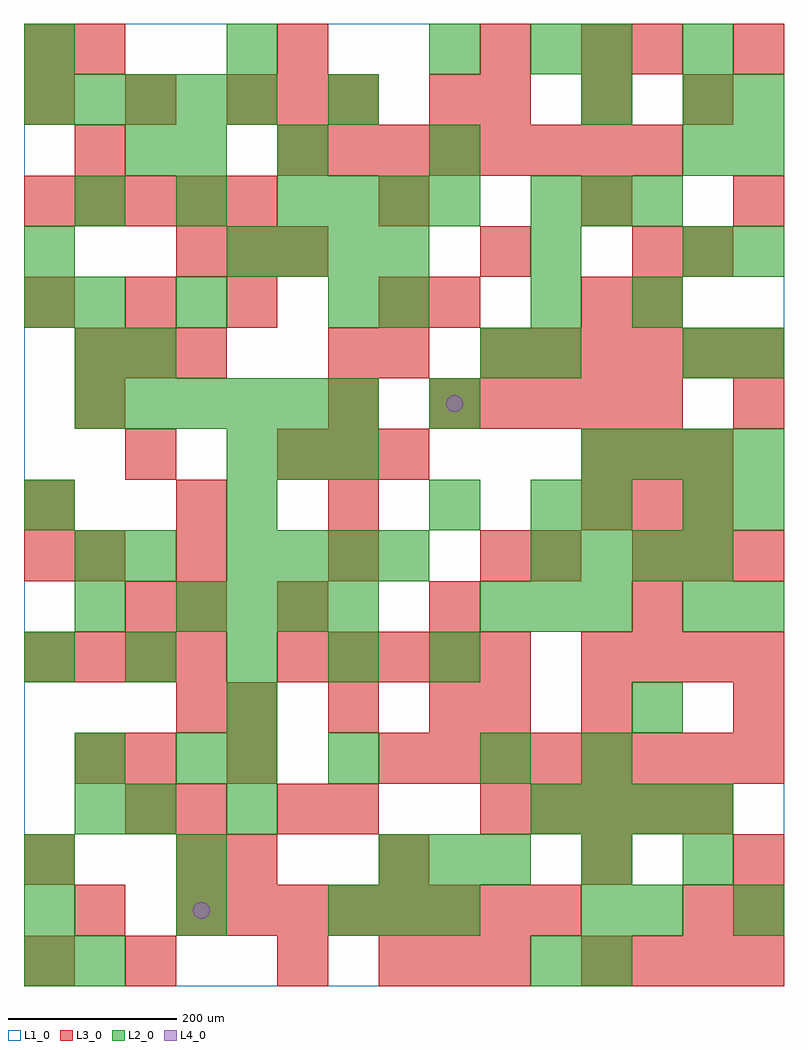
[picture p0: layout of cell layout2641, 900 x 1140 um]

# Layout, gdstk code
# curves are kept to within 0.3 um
import gdstk
lib = gdstk.Library(unit=1e-6, precision=1e-09)
def R(c, l, rs):  # rectangles x0, y0, x1, y1
    for r in rs: c.add(gdstk.rectangle(r[:2], r[2:], *l))
def A(c, l, x, y, w, h, nx, ny, dx, dy):  # array of equal rectangles
    R(c, l, [(x+i*dx, y+j*dy, x+i*dx+w, y+j*dy+h) for i in range(nx) for j in range(ny)])
def P(c, l, *ps):  # polygons
    for p in ps: c.add(gdstk.Polygon(p, *l))
L1_0 = (1, 0)
L2_0 = (2, 0)
L3_0 = (3, 0)
L4_0 = (4, 0)

layout2641 = lib.new_cell('layout2641')
R(layout2641, L1_0, [(0,0,900,1140)])
A(layout2641, L2_0, 660, 0, 60, 60, 1, 3, 0, 60)
A(layout2641, L2_0, 0, 60, 60, 60, 3, 1, 180, 0)
A(layout2641, L2_0, 420, 120, 60, 60, 3, 1, 60, 0)
A(layout2641, L2_0, 240, 180, 60, 60, 1, 3, 0, 60)
A(layout2641, L2_0, 600, 180, 60, 60, 4, 2, 60, 300)
A(layout2641, L2_0, 0, 360, 60, 60, 5, 1, 120, 0)
A(layout2641, L2_0, 180, 420, 60, 60, 4, 1, 60, 0)
A(layout2641, L2_0, 540, 420, 60, 60, 3, 1, 60, 0)
A(layout2641, L2_0, 120, 480, 60, 60, 1, 3, 0, 240)
A(layout2641, L2_0, 240, 480, 60, 60, 4, 2, 60, 360)
A(layout2641, L2_0, 0, 540, 60, 60, 3, 2, 240, 540)
A(layout2641, L2_0, 240, 600, 60, 60, 3, 1, 60, 0)
A(layout2641, L2_0, 660, 600, 60, 60, 4, 1, 60, 0)
A(layout2641, L2_0, 60, 660, 60, 60, 6, 1, 60, 0)
A(layout2641, L2_0, 600, 720, 60, 60, 1, 3, 0, 60)
A(layout2641, L2_0, 780, 720, 60, 60, 1, 3, 0, 120)
A(layout2641, L2_0, 840, 720, 60, 60, 1, 3, 0, 120)
A(layout2641, L2_0, 60, 900, 60, 60, 3, 1, 120, 0)
A(layout2641, L2_0, 360, 900, 60, 60, 3, 1, 60, 0)
A(layout2641, L2_0, 600, 900, 60, 60, 3, 1, 60, 0)
A(layout2641, L2_0, 0, 1020, 60, 60, 5, 1, 60, 0)
R(layout2641, L2_0, [(0,0,60,60), (60,0,120,60), (600,0,660,60), (420,60,480,120), (480,60,540,120), (720,60,780,120), (840,60,900,120), (0,120,60,180), (180,120,240,180), (780,120,840,180), (60,180,120,240), (120,180,180,240), (60,240,120,300), (180,240,240,300), (360,240,420,300), (540,240,600,300), (660,240,720,300), (720,300,780,360), (60,420,120,480), (780,420,840,480), (840,420,900,480), (60,480,120,540), (600,540,660,600), (660,540,720,600), (780,540,840,600), (840,540,900,600), (480,660,540,720), (60,720,120,780), (540,720,600,780), (0,780,60,840), (60,780,120,840), (180,780,240,840), (360,780,420,840), (420,780,480,840), (720,780,780,840), (0,840,60,900), (180,960,240,1020), (300,960,360,1020), (480,960,540,1020), (360,1020,420,1080), (660,1020,720,1080), (780,1020,840,1080), (840,1020,900,1080), (600,1080,660,1140), (660,1080,720,1140), (780,1080,840,1140)])
A(layout2641, L3_0, 420, 0, 60, 60, 3, 1, 60, 0)
A(layout2641, L3_0, 660, 0, 60, 60, 4, 2, 60, 360)
A(layout2641, L3_0, 180, 60, 60, 60, 8, 1, 60, 0)
A(layout2641, L3_0, 180, 180, 60, 60, 1, 3, 0, 120)
A(layout2641, L3_0, 540, 180, 60, 60, 5, 1, 60, 0)
A(layout2641, L3_0, 120, 240, 60, 60, 1, 3, 0, 180)
A(layout2641, L3_0, 420, 240, 60, 60, 8, 1, 60, 0)
A(layout2641, L3_0, 240, 300, 60, 60, 3, 1, 120, 0)
A(layout2641, L3_0, 0, 360, 60, 60, 4, 1, 60, 0)
A(layout2641, L3_0, 300, 360, 60, 60, 5, 1, 60, 0)
A(layout2641, L3_0, 180, 480, 60, 60, 3, 1, 180, 0)
A(layout2641, L3_0, 720, 480, 60, 60, 3, 1, 60, 0)
A(layout2641, L3_0, 0, 540, 60, 60, 3, 1, 180, 0)
A(layout2641, L3_0, 660, 540, 60, 60, 3, 2, 60, 60)
A(layout2641, L3_0, 300, 600, 60, 60, 3, 1, 60, 0)
A(layout2641, L3_0, 480, 660, 60, 60, 5, 1, 60, 0)
A(layout2641, L3_0, 60, 720, 60, 60, 3, 1, 60, 0)
A(layout2641, L3_0, 540, 720, 60, 60, 6, 1, 60, 0)
A(layout2641, L3_0, 0, 780, 60, 60, 3, 2, 120, 240)
A(layout2641, L3_0, 180, 840, 60, 60, 3, 1, 60, 0)
A(layout2641, L3_0, 0, 900, 60, 60, 5, 1, 60, 0)
A(layout2641, L3_0, 300, 960, 60, 60, 8, 1, 60, 0)
A(layout2641, L3_0, 540, 1020, 60, 60, 3, 1, 120, 0)
A(layout2641, L3_0, 60, 1080, 60, 60, 3, 1, 240, 0)
R(layout2641, L3_0, [(0,0,60,60), (120,0,180,60), (300,0,360,60), (60,60,120,120), (780,60,840,120), (840,60,900,120), (0,120,60,180), (180,120,240,180), (240,120,300,180), (420,120,480,180), (660,120,720,180), (840,120,900,180), (120,180,180,240), (300,180,360,240), (360,180,420,240), (60,240,120,300), (240,240,300,300), (540,300,600,360), (660,300,720,360), (840,300,900,360), (300,420,360,480), (480,420,540,480), (720,420,780,480), (0,480,60,540), (60,480,120,540), (600,480,660,540), (60,660,120,720), (360,660,420,720), (840,660,900,720), (360,720,420,780), (420,720,480,780), (420,780,480,840), (480,780,540,840), (660,780,720,840), (720,780,780,840), (540,840,600,900), (720,840,780,900), (780,840,840,900), (420,900,480,960), (660,900,720,960), (840,900,900,960), (60,960,120,1020), (300,1020,360,1080), (360,1020,420,1080), (480,1020,540,1080), (0,1080,60,1140), (660,1080,720,1140), (720,1080,780,1140), (840,1080,900,1140)])
P(layout2641, L4_0, [(220,90),(219.239,93.827),(217.071,97.071),(213.827,99.239),(210,100),(206.173,99.239),(202.929,97.071),(200.761,93.827),(200,90),(200.761,86.173),(202.929,82.929),(206.173,80.761),(210,80),(213.827,80.761),(217.071,82.929),(219.239,86.173)],
  [(520,690),(519.239,693.827),(517.071,697.071),(513.827,699.239),(510,700),(506.173,699.239),(502.929,697.071),(500.761,693.827),(500,690),(500.761,686.173),(502.929,682.929),(506.173,680.761),(510,680),(513.827,680.761),(517.071,682.929),(519.239,686.173)])

lib.write_gds('layout2641.gds')
